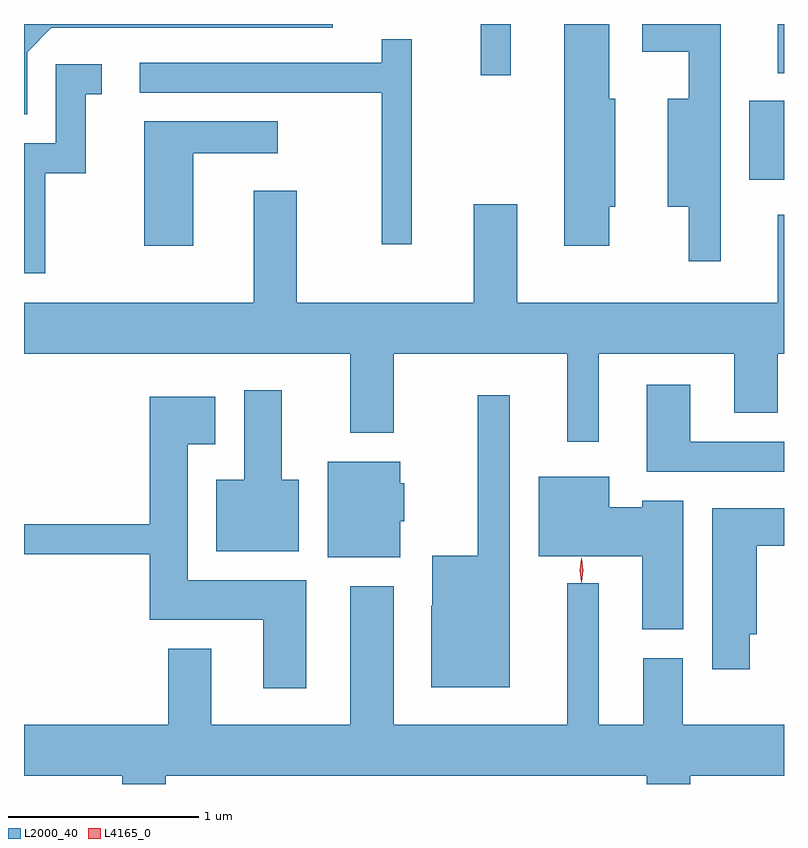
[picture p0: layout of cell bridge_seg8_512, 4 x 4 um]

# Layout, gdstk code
import gdstk
lib = gdstk.Library(unit=1e-6, precision=1e-09)
def R(c, l, rs):  # rectangles x0, y0, x1, y1
    for r in rs: c.add(gdstk.rectangle(r[:2], r[2:], *l))
def P(c, l, *ps):  # polygons
    for p in ps: c.add(gdstk.Polygon(p, *l))
L2000_40 = (2000, 40)
L4165_0 = (4165, 0)

bridge_seg8_512 = lib.new_cell('bridge_seg8_512')
R(bridge_seg8_512, L2000_40, [(286.161,1855.091,286.343,1855.509), (284.746,1855.643,284.904,1855.912), (286.311,1855.653,286.343,1855.912)])
P(bridge_seg8_512, L2000_40, [(282.359,1855.764),(282.487,1855.891),(283.969,1855.891),(283.969,1855.912),(282.343,1855.912),(282.343,1855.436),(282.359,1855.436)],
  [(286.009,1855.912),(285.596,1855.912),(285.596,1855.766),(285.841,1855.766),(285.841,1855.519),(285.731,1855.519),(285.731,1854.951),(285.841,1854.951),(285.841,1854.663),(286.009,1854.663)],
  [(285.424,1854.951),(285.454,1854.951),(285.454,1855.519),(285.424,1855.519),(285.424,1855.912),(285.186,1855.912),(285.186,1854.746),(285.424,1854.746)],
  [(284.384,1855.833),(284.226,1855.833),(284.226,1855.709),(282.953,1855.709),(282.953,1855.551),(284.226,1855.551),(284.226,1854.753),(284.384,1854.753)],
  [(282.454,1855.126),(282.669,1855.126),(282.669,1855.541),(282.753,1855.541),(282.753,1855.699),(282.511,1855.699),(282.511,1855.284),(282.343,1855.284),(282.343,1854.601),(282.454,1854.601)],
  [(283.234,1855.231),(283.678,1855.231),(283.678,1855.399),(282.976,1855.399),(282.976,1854.746),(283.234,1854.746)],
  [(285.369,1854.176),(286.081,1854.176),(286.081,1853.866),(286.309,1853.866),(286.309,1854.176),(286.343,1854.176),(286.343,1854.908),(286.311,1854.908),(286.311,1854.444),(284.939,1854.444),(284.939,1854.964),(284.711,1854.964),(284.711,1854.444),(283.779,1854.444),(283.779,1855.034),(283.551,1855.034),(283.551,1854.444),(282.343,1854.444),(282.343,1854.176),(284.061,1854.176),(284.061,1853.761),(284.289,1853.761),(284.289,1854.176),(285.201,1854.176),(285.201,1853.713),(285.369,1853.713)],
  [(286.343,1853.714),(285.849,1853.714),(285.849,1854.014),(285.621,1854.014),(285.621,1853.556),(286.343,1853.556)],
  [(283.789,1853.514),(283.699,1853.514),(283.699,1853.984),(283.501,1853.984),(283.501,1853.514),(283.356,1853.514),(283.356,1853.136),(283.789,1853.136)],
  [(284.899,1853.958),(284.731,1853.958),(284.731,1853.114),(284.491,1853.114),(284.491,1852.85),(284.486,1852.85),(284.486,1852.421),(284.899,1852.421)],
  [(283.829,1852.984),(283.204,1852.984),(283.204,1853.701),(283.349,1853.701),(283.349,1853.949),(283.006,1853.949),(283.006,1853.279),(282.343,1853.279),(282.343,1853.121),(283.006,1853.121),(283.006,1852.776),(283.601,1852.776),(283.601,1852.416),(283.829,1852.416)],
  [(284.324,1853.296),(284.344,1853.296),(284.344,1853.494),(284.324,1853.494),(284.324,1853.609),(283.941,1853.609),(283.941,1853.106),(284.324,1853.106)],
  [(285.814,1853.404),(285.596,1853.404),(285.596,1853.369),(285.424,1853.369),(285.424,1853.529),(285.051,1853.529),(285.051,1853.111),(285.596,1853.111),(285.596,1852.726),(285.814,1852.726)],
  [(286.164,1852.701),(286.199,1852.701),(286.199,1853.166),(286.343,1853.166),(286.343,1853.364),(285.966,1853.364),(285.966,1852.516),(286.164,1852.516)],
  [(283.089,1851.956),(285.621,1851.956),(285.621,1851.912),(285.849,1851.912),(285.849,1851.956),(286.343,1851.956),(286.343,1852.224),(285.809,1852.224),(285.809,1852.574),(285.601,1852.574),(285.601,1852.224),(285.369,1852.224),(285.369,1852.968),(285.201,1852.968),(285.201,1852.224),(284.289,1852.224),(284.289,1852.954),(284.061,1852.954),(284.061,1852.224),(283.329,1852.224),(283.329,1852.624),(283.101,1852.624),(283.101,1852.224),(282.343,1852.224),(282.343,1851.956),(282.861,1851.956),(282.861,1851.912),(283.089,1851.912)])
P(bridge_seg8_512, L4165_0, [(285.278,1852.972),(285.277,1852.973),(285.267,1853.036),(285.276,1853.099),(285.277,1853.099),(285.278,1853.099),(285.287,1853.036),(285.278,1852.973)])

lib.write_gds('bridge_seg8_512.gds')
